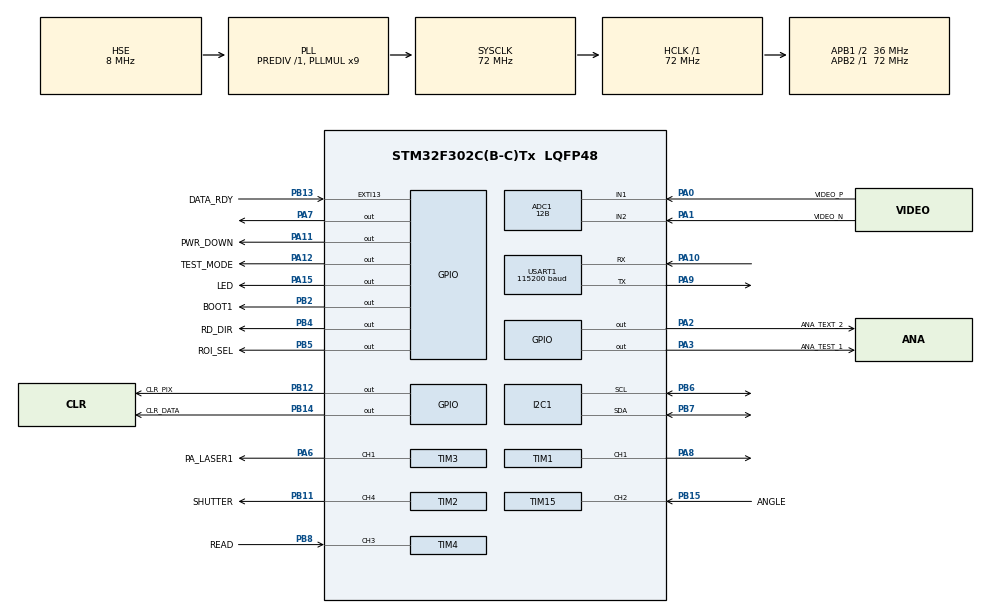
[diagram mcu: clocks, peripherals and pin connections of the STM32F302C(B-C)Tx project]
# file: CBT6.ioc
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ADC1.Channel-0\#ChannelRegularConversion=ADC_CHANNEL_1
ADC1.ClockPrescaler=ADC_CLOCK_SYNC_PCLK_DIV1
ADC1.ContinuousConvMode=ENABLE
ADC1.DMAAccessModeView=ENABLE
ADC1.DMAContinuousRequests=DISABLE
ADC1.DataAlign=ADC_DATAALIGN_RIGHT
ADC1.DiscontinuousConvMode=DISABLE
ADC1.EOCSelection=ADC_EOC_SINGLE_CONV
ADC1.EnableAnalogWatchDog1=false
ADC1.EnableAnalogWatchDog2=false
ADC1.EnableAnalogWatchDog3=false
ADC1.EnableInjectedConversion=DISABLE
ADC1.EnableRegularConversion=ENABLE
ADC1.ExternalTrigConv=ADC_EXTERNALTRIGCONV_T1_CC1
ADC1.ExternalTrigConvEdge=ADC_EXTERNALTRIGCONVEDGE_RISING
ADC1.LowPowerAutoWait=DISABLE
ADC1.NbrOfConversion=1
ADC1.NbrOfConversionFlag=1
ADC1.Offset-0\#ChannelRegularConversion=0
ADC1.OffsetNumber-0\#ChannelRegularConversion=ADC_OFFSET_NONE
ADC1.Overrun=ADC_OVR_DATA_OVERWRITTEN
ADC1.Rank-0\#ChannelRegularConversion=1
ADC1.Resolution=ADC_RESOLUTION_12B
ADC1.SamplingTime-0\#ChannelRegularConversion=ADC_SAMPLETIME_1CYCLE_5
ADC1.ScanConvMode=ADC_SCAN_DISABLE
ADC1.SingleDiff-0\#ChannelRegularConversion=ADC_DIFFERENTIAL_ENDED
ADC1.TwoSamplingDelay=ADC_TWOSAMPLINGDELAY_8CYCLES
ADC1.master=1
Dma.ADC1.2.Direction=DMA_PERIPH_TO_MEMORY
Dma.ADC1.2.Instance=DMA1_Channel1
Dma.ADC1.2.MemDataAlignment=DMA_MDATAALIGN_HALFWORD
Dma.ADC1.2.MemInc=DMA_MINC_ENABLE
Dma.ADC1.2.Mode=DMA_NORMAL
Dma.ADC1.2.PeriphDataAlignment=DMA_PDATAALIGN_HALFWORD
Dma.ADC1.2.PeriphInc=DMA_PINC_DISABLE
Dma.ADC1.2.Priority=DMA_PRIORITY_VERY_HIGH
Dma.Request0=USART1_RX
Dma.Request1=USART1_TX
Dma.Request2=ADC1
Dma.USART1_RX.0.Direction=DMA_PERIPH_TO_MEMORY
Dma.USART1_RX.0.Instance=DMA1_Channel5
Dma.USART1_RX.0.MemDataAlignment=DMA_MDATAALIGN_BYTE
Dma.USART1_RX.0.MemInc=DMA_MINC_ENABLE
Dma.USART1_RX.0.Mode=DMA_NORMAL
Dma.USART1_RX.0.PeriphDataAlignment=DMA_PDATAALIGN_BYTE
Dma.USART1_RX.0.PeriphInc=DMA_PINC_DISABLE
Dma.USART1_RX.0.Priority=DMA_PRIORITY_LOW
Dma.USART1_TX.1.Direction=DMA_MEMORY_TO_PERIPH
Dma.USART1_TX.1.Instance=DMA1_Channel4
Dma.USART1_TX.1.MemDataAlignment=DMA_MDATAALIGN_BYTE
Dma.USART1_TX.1.MemInc=DMA_MINC_ENABLE
Dma.USART1_TX.1.Mode=DMA_NORMAL
Dma.USART1_TX.1.PeriphDataAlignment=DMA_PDATAALIGN_BYTE
Dma.USART1_TX.1.PeriphInc=DMA_PINC_DISABLE
Dma.USART1_TX.1.Priority=DMA_PRIORITY_LOW
Mcu.Family=STM32F3
Mcu.Name=STM32F302C(B-C)Tx
Mcu.Package=LQFP48
NVIC.DMA1_Channel1_IRQn=true\:0\:0\:false\:false\:true
NVIC.DMA1_Channel4_IRQn=true\:0\:0\:false\:false\:true
NVIC.DMA1_Channel5_IRQn=true\:0\:0\:false\:false\:true
NVIC.EXTI15_10_IRQn=true\:0\:0\:false\:false\:true
NVIC.PriorityGroup=NVIC_PRIORITYGROUP_4
NVIC.TIM1_BRK_TIM15_IRQn=true\:3\:0\:true\:false\:true
NVIC.TIM1_UP_TIM16_IRQn=true\:0\:0\:false\:false\:true
NVIC.TIM2_IRQn=true\:2\:0\:true\:false\:true
NVIC.TIM4_IRQn=true\:0\:0\:false\:false\:true
NVIC.USART1_IRQn=true\:1\:0\:true\:false\:true
PA0.GPIO_Label=VIDEO_P
PA0.GPIO_Mode=GPIO_MODE_ANALOG
PA0.GPIO_PuPd=GPIO_NOPULL
PA0.Mode=IN1-Differential
PA0.Signal=ADC1_IN1
PA1.GPIO_Label=VIDEO_N
PA1.GPIO_Mode=GPIO_MODE_ANALOG
PA1.GPIO_PuPd=GPIO_NOPULL
PA1.Mode=IN1-Differential
PA1.Signal=ADC1_IN2
PA10.Mode=Asynchronous
PA10.Signal=USART1_RX
PA11.GPIO_Label=PWR_DOWN
PA11.GPIO_ModeDefaultOutputPP=GPIO_MODE_OUTPUT_PP
PA11.GPIO_PuPd=GPIO_NOPULL
PA11.GPIO_Speed=GPIO_SPEED_FREQ_LOW
PA11.PinState=GPIO_PIN_RESET
PA11.Signal=GPIO_Output
PA12.GPIO_Label=TEST_MODE
PA12.GPIO_ModeDefaultOutputPP=GPIO_MODE_OUTPUT_PP
PA12.GPIO_PuPd=GPIO_NOPULL
PA12.GPIO_Speed=GPIO_SPEED_FREQ_LOW
PA12.PinState=GPIO_PIN_RESET
PA12.Signal=GPIO_Output
PA13.Mode=Serial_Wire
PA13.Signal=SYS_JTMS-SWDIO
PA14.Mode=Serial_Wire
PA14.Signal=SYS_JTCK-SWCLK
PA15.GPIO_Label=LED
PA15.GPIO_ModeDefaultOutputPP=GPIO_MODE_OUTPUT_PP
PA15.GPIO_PuPd=GPIO_NOPULL
PA15.GPIO_Speed=GPIO_SPEED_FREQ_LOW
PA15.PinState=GPIO_PIN_RESET
PA15.Signal=GPIO_Output
PA2.GPIO_Label=ANA_TEXT_2
PA2.Signal=GPIO_Output
PA3.GPIO_Label=ANA_TEST_1
PA3.Signal=GPIO_Output
PA6.GPIO_Label=PA_LASER1
PA6.GPIO_ModeDefaultPP=GPIO_MODE_AF_PP
PA6.GPIO_PuPd=GPIO_NOPULL
PA6.GPIO_Speed=GPIO_SPEED_FREQ_LOW
PA6.Signal=S_TIM3_CH1
PA7.Signal=GPIO_Output
PA8.Signal=S_TIM1_CH1
PA9.Mode=Asynchronous
PA9.Signal=USART1_TX
PB11.GPIO_Label=SHUTTER
PB11.GPIO_ModeDefaultPP=GPIO_MODE_AF_PP
PB11.GPIO_PuPd=GPIO_NOPULL
PB11.GPIO_Speed=GPIO_SPEED_FREQ_LOW
PB11.Signal=S_TIM2_CH4
PB12.GPIO_Label=CLR_PIX
PB12.GPIO_ModeDefaultOutputPP=GPIO_MODE_OUTPUT_PP
PB12.GPIO_PuPd=GPIO_NOPULL
PB12.GPIO_Speed=GPIO_SPEED_FREQ_LOW
PB12.PinState=GPIO_PIN_RESET
PB12.Signal=GPIO_Output
PB13.GPIO_Label=DATA_RDY
PB13.GPIO_ModeDefaultEXTI=GPIO_MODE_IT_RISING
PB13.GPIO_PuPd=GPIO_NOPULL
PB13.Signal=GPXTI13
PB14.GPIO_Label=CLR_DATA
PB14.GPIO_ModeDefaultOutputPP=GPIO_MODE_OUTPUT_PP
PB14.GPIO_PuPd=GPIO_NOPULL
PB14.GPIO_Speed=GPIO_SPEED_FREQ_LOW
PB14.PinState=GPIO_PIN_RESET
PB14.Signal=GPIO_Output
PB15.GPIO_Label=ANGLE
PB15.GPIO_ModeDefaultPP=GPIO_MODE_AF_PP
PB15.GPIO_PuPd=GPIO_NOPULL
PB15.GPIO_Speed=GPIO_SPEED_FREQ_LOW
PB15.Signal=S_TIM15_CH2
PB2.GPIO_Label=BOOT1
PB2.GPIO_ModeDefaultOutputPP=GPIO_MODE_OUTPUT_PP
PB2.GPIO_PuPd=GPIO_NOPULL
PB2.GPIO_Speed=GPIO_SPEED_FREQ_LOW
PB2.PinState=GPIO_PIN_RESET
PB2.Signal=GPIO_Output
PB4.GPIO_Label=RD_DIR
PB4.GPIO_ModeDefaultOutputPP=GPIO_MODE_OUTPUT_PP
PB4.GPIO_PuPd=GPIO_NOPULL
PB4.GPIO_Speed=GPIO_SPEED_FREQ_LOW
PB4.PinState=GPIO_PIN_RESET
PB4.Signal=GPIO_Output
PB5.GPIO_Label=ROI_SEL
PB5.GPIO_ModeDefaultOutputPP=GPIO_MODE_OUTPUT_PP
PB5.GPIO_PuPd=GPIO_NOPULL
PB5.GPIO_Speed=GPIO_SPEED_FREQ_LOW
PB5.PinState=GPIO_PIN_RESET
PB5.Signal=GPIO_Output
PB6.Mode=I2C
PB6.Signal=I2C1_SCL
PB7.Mode=I2C
PB7.Signal=I2C1_SDA
PB8.GPIO_FM8=__NULL
PB8.GPIO_Label=READ
PB8.GPIO_ModeDefaultPP=GPIO_MODE_AF_PP
PB8.GPIO_PuPd=GPIO_NOPULL
PB8.GPIO_Speed=GPIO_SPEED_FREQ_LOW
PB8.Signal=S_TIM4_CH3
PF0-OSC_IN.Mode=HSE-External-Oscillator
PF0-OSC_IN.Signal=RCC_OSC_IN
PF1-OSC_OUT.Mode=HSE-External-Oscillator
PF1-OSC_OUT.Signal=RCC_OSC_OUT
ProjectManager.HeapSize=0x200
ProjectManager.StackSize=0x400
ProjectManager.TargetToolchain=MDK-ARM V5
RCC.AHBFreq_Value=72000000
RCC.APB1CLKDivider=RCC_HCLK_DIV2
RCC.APB1Freq_Value=36000000
RCC.APB1TimFreq_Value=72000000
RCC.APB2Freq_Value=72000000
RCC.APB2TimFreq_Value=72000000
RCC.CortexFreq_Value=72000000
RCC.HCLKFreq_Value=72000000
RCC.HSE_VALUE=8000000
RCC.HSI_VALUE=8000000
RCC.LSE_VALUE=32768
RCC.PLLMUL=RCC_PLL_MUL9
RCC.PLLSourceVirtual=RCC_PLLSOURCE_HSE
RCC.SYSCLKFreq_VALUE=72000000
RCC.SYSCLKSourceVirtual=RCC_SYSCLKSOURCE_PLLCLK
RCC.USBFreq_Value=72000000
SH.S_TIM15_CH2.0=TIM15_CH2,Input_Capture2_from_TI2
SH.S_TIM1_CH1.0=TIM1_CH1,Output Compare1 CH1
SH.S_TIM2_CH4.0=TIM2_CH4,PWM Generation4 CH4
SH.S_TIM3_CH1.0=TIM3_CH1,PWM Generation1 CH1
SH.S_TIM4_CH3.0=TIM4_CH3,Input_Capture3_from_TI3
TIM1.OCMode_1=TIM_OCMODE_RETRIGERRABLE_OPM1
TIM1.Period=14
TIM1.Pulse-Output\ Compare1\ CH1=8
TIM15.Channel-Input_Capture2_from_TI2=TIM_CHANNEL_2
TIM15.Period=65535
TIM15.Prescaler=71
TIM16.Period=3
TIM16.Prescaler=72
TIM2.Channel-PWM\ Generation4\ CH4=TIM_CHANNEL_4
TIM2.Period=50
TIM2.Prescaler=720
TIM2.Pulse-PWM\ Generation4\ CH4=20
TIM3.Period=60
TIM3.Prescaler=72-1
TIM3.Pulse-PWM\ Generation1\ CH1=60-1
TIM4.Channel-Input_Capture3_from_TI3=TIM_CHANNEL_3
TIM4.Period=1028
TIM6.Period=65535
TIM6.Prescaler=7200
USART1.BaudRate=115200
VP_TIM15_VS_ClockSourceINT.Mode=Internal
VP_TIM16_VS_ClockSourceINT.Mode=Enable_Timer
VP_TIM1_VS_ClockSourceINT.Mode=Internal
VP_TIM2_VS_ClockSourceINT.Mode=Internal
VP_TIM3_VS_ClockSourceINT.Mode=Internal
VP_TIM4_VS_ClockSourceINT.Mode=Internal
VP_TIM6_VS_ClockSourceINT.Mode=Enable_Timer
board=CBT6

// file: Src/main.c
/**
  ******************************************************************************
  * File Name          : main.c
  * Description        : Main program body
  ******************************************************************************
  *
  * COPYRIGHT(c) 2017 STMicroelectronics
  *
  * Redistribution and use in source and binary forms, with or without modification,
  * are permitted provided that the following conditions are met:
  *   1. Redistributions of source code must retain the above copyright notice,
  *      this list of conditions and the following disclaimer.
  *   2. Redistributions in binary form must reproduce the above copyright notice,
  *      this list of conditions and the following disclaimer in the documentation
  *      and/or other materials provided with the distribution.
  *   3. Neither the name of STMicroelectronics nor the names of its contributors
  *      may be used to endorse or promote products derived from this software
  *      without specific prior written permission.
  *
  * THIS SOFTWARE IS PROVIDED BY THE COPYRIGHT HOLDERS AND CONTRIBUTORS "AS IS"
  * AND ANY EXPRESS OR IMPLIED WARRANTIES, INCLUDING, BUT NOT LIMITED TO, THE
  * IMPLIED WARRANTIES OF MERCHANTABILITY AND FITNESS FOR A PARTICULAR PURPOSE ARE
  * DISCLAIMED. IN NO EVENT SHALL THE COPYRIGHT HOLDER OR CONTRIBUTORS BE LIABLE
  * FOR ANY DIRECT, INDIRECT, INCIDENTAL, SPECIAL, EXEMPLARY, OR CONSEQUENTIAL
  * DAMAGES (INCLUDING, BUT NOT LIMITED TO, PROCUREMENT OF SUBSTITUTE GOODS OR
  * SERVICES; LOSS OF USE, DATA, OR PROFITS; OR BUSINESS INTERRUPTION) HOWEVER
  * CAUSED AND ON ANY THEORY OF LIABILITY, WHETHER IN CONTRACT, STRICT LIABILITY,
  * OR TORT (INCLUDING NEGLIGENCE OR OTHERWISE) ARISING IN ANY WAY OUT OF THE USE
  * OF THIS SOFTWARE, EVEN IF ADVISED OF THE POSSIBILITY OF SUCH DAMAGE.
  *
  ******************************************************************************
  */
#include "main.h"
#include "stm32f3xx_hal.h"
#include "adc.h"
#include "dma.h"
#include "i2c.h"
#include "tim.h"
#include "usart.h"
#include "gpio.h"

/* USER CODE BEGIN Includes */
#include "usart_user.h"
#include "sysconfig.h"
#include "transmit.h"
#include "angle_and_speed.h"
#include "epc.h"
#include "algorithm.h"
#include "AVG_filter.h"
#include "Median_Filter.h"
#include "kalman_filter.h"

s32 AVGFilterArray[2][5];

AvgFilterInt32Def AVGFilter[3] = {
    {AVGFilterArray[0], 5, 0, 0},
    {AVGFilterArray[1], 5, 0, 0},
};

//初始化卡尔曼滤波器
//kalman1_state kalman1;

/* USER CODE END Includes */

/* USER CODE BEGIN PV */
/* Private variables ---------------------------------------------------------*/

/* USER CODE END PV */

void SystemClock_Config(void);
void Error_Handler(void);

/* USER CODE BEGIN PFP */
/* Private function prototypes -----------------------------------------------*/
uint16_t LastAngle = 0;
static uint16_t Buffer[PIXEL_1_FPS];
/* USER CODE END PFP */

/* USER CODE BEGIN 0 */
/**
  * @brief  将Lidar 2D数据按鿚讯协议打包
  * @param  None
  * @retval None
  */
static void PackageAndSendTxData(void)
{
	u32 out_len = 0;

	PackageDataStruct package;

    //目标速度
    LidarData.GivenSpeed = SystemConfig.GivenSpeed;
    //当前速度
    LidarData.CurrSpeed = GetAngularSpeed();

	package.DataID = PACK_LIDAR_DATA;
	package.DataInBuff = (u8*)&LidarData;
	package.DataInLen = sizeof(LidarDataTypeDef);
	package.DataOutBuff = ComBuffer.TxBuffer;
	package.DataOutLen = &out_len;

    Package(package);

    HAL_UART_Transmit_DMA(&huart1,ComBuffer.TxBuffer,out_len);

}

static void SendMaxPixel(void)
{
	u32 out_len = 0;
    u16 max;
	PackageDataStruct package;

    max = GetPixVmax().PixV;
    CCD_DataBuffer[3] = DEBUG_GET_MAX_PIXEL_VALUE;

	package.DataID = PACK_DEBUG_MODE;
	package.DataInBuff = (u8*)&max;
	package.DataInLen = sizeof(max);
	package.DataOutBuff = ComBuffer.TxBuffer;
	package.DataOutLen = &out_len;

    Package(package);

    HAL_UART_Transmit(&huart1,ComBuffer.TxBuffer,out_len,10);
}

/**
  * @brief  整合Lidar的2D数据
  * @param  angle: Lidar当前的角度
  * @retval None
  */
static void Intergrate2DData(u16 angle)
{
    float distance = 0;
    float pix_index = 0;
    u16 confidence;

    //灰度质心法求得像素质心位置
    Get_Average_Centroid(Buffer, &pix_index);
//    GetCentroid(Buffer, &pix_index);

    //调整像素偏移量(校准得来)
    pix_index += PixOffset;

	//温度补偿
	//pix_index += TemperatureCompensation();

    //估算出距离
    GetDistance(pix_index, &distance);

    //大于最大距离的置零
//    if ((u16)distance > MAX_DISTANCE)
//        distance = 0;

    //将距离数据存入测距数组，同时旋转角度，使零度对齐机器人正前方
    //旋转角度的原因是，光电对管和镜头方向有角度偏差
    angle = (angle + SystemConfig.AngleOffset) % 360;

    confidence = GetPixVmax().PixV;
    LidarData.PointData[angle].Distance = (distance); //(u16)(angle*10);
//    LidarData.PointData[angle].Distance = AVG_Filter_s32(&AVGFilter[0],distance);//增加均值滤波器的distance

    //处理置信度数据(置信度为像素峰值,大于255的部分，按255处理)

    confidence = confidence>>8;
    if (confidence > 255)
        confidence = 255;
	LidarData.PointData[angle].Confidence = (u8)confidence;
//    LidarData.PointData[angle].Confidence = (u8)AVG_Filter_s32(&AVGFilter[1],(u8)confidence);//增加均值滤波器的confidence
}

static void ResetLidarData(void)
{
    u16 i;
    for (i = 0; i < 360; i++)
    {
		LidarData.PointData[i].Confidence=0;
		LidarData.PointData[i].Distance=0;
    }
}
/* USER CODE END 0 */

int main(void)
{

  /* USER CODE BEGIN 1 */
   uint8_t id = 0x00;
    uint16_t current_angle=0;
    int i;
  /* USER CODE END 1 */

  /* MCU Configuration----------------------------------------------------------*/

  /* Reset of all peripherals, Initializes the Flash interface and the Systick. */
  HAL_Init();

  /* Configure the system clock */
  SystemClock_Config();

  /* Initialize all configured peripherals */
  MX_GPIO_Init();
  MX_DMA_Init();
  MX_I2C1_Init();
  MX_USART1_UART_Init();
  MX_TIM15_Init();
  MX_TIM3_Init();
  MX_TIM2_Init();
  MX_ADC1_Init();
  MX_TIM6_Init();
  MX_TIM1_Init();
  MX_TIM16_Init();
  MX_TIM4_Init();

  //初始化卡尔曼滤波器参数
//  kalman1_init(&kalman1,0.2,0.01);
  //
  /* USER CODE BEGIN 2 */
    UART_SetDMA();
    InitSystemConfig();

    //HAL_TIM_Base_Start_IT(&htim2);
   /* Run the ADC calibration in differential mode */
  if (HAL_ADCEx_Calibration_Start(&hadc1, ADC_DIFFERENTIAL_ENDED) != HAL_OK)
  {
    /* Start Conversation Error */
    Error_Handler();
  }

//  /* Start ADC conversion on regular group with interruption */
//  if (HAL_ADC_Start_DMA(&hadc1,CCD_DataBuffer,1) != HAL_OK)
//  {
//    /* Start Conversation Error */
//    Error_Handler();
//  }
    HAL_TIM_PWM_Start(&htim3,TIM_CHANNEL_1);
    InitSpeedCapture();
    HAL_GPIO_WritePin(GPIOA,GPIO_PIN_11,GPIO_PIN_SET);
    HAL_Delay(1);
    HAL_GPIO_WritePin(GPIOA,GPIO_PIN_11,GPIO_PIN_RESET);
    HAL_GPIO_WritePin(GPIOA,GPIO_PIN_12,GPIO_PIN_RESET);
    HAL_GPIO_WritePin(GPIOB,GPIO_PIN_4,GPIO_PIN_RESET);
    HAL_GPIO_WritePin(GPIOB,GPIO_PIN_5,GPIO_PIN_RESET);

    ClearPix();
    ClearData();
    StartCCDCapture();
    PackageAndSendTxData();

//  if(HAL_I2C_Master_Transmit(&hi2c1,0x20,&id,1,1000) != HAL_OK)
//  {
//      printf("i2c t error\n");
//  }
//  HAL_Delay(100);

//
//  if(HAL_I2C_Master_Receive(&hi2c1,0x20,&id,1,10) != HAL_OK)
//  {
//      printf("i2c r error\n");
//  }
//  else
//      printf("id = %d\n",id);
  /* USER CODE END 2 */

  /* Infinite loop */
  /* USER CODE BEGIN WHILE */

//   for(i=0;i<PIXEL_1_FPS;i++)
//    {
//        CCD_DataBuffer_2[i]=i;
//    }
    HAL_GPIO_WritePin(GPIOA,GPIO_PIN_15,GPIO_PIN_SET);
  while (1)
  {
    if(DataReady)
    {
//        Median_Filter_s32(Buffer);
//        AVG_LINE_Filter_s32(Buffer);
        memcpy(Buffer,CCD_DataBuffer,sizeof(CCD_DataBuffer));

        DataReady = 0;
        if(IsZeroPoint() == TRUE)
        {
           PackageAndSendTxData();
            ResetLidarData();
        }
        current_angle = GetLidarAngle() % 360;

        //整合Lidar的2D数据
        //低转速时可能会出现同一个角度多次处理，过滤掉这一操作，提高测距效率
//        if ((current_angle != LastAngle))
        {
            Intergrate2DData(current_angle);
            //记录当前位置
            LastAngle = current_angle;
        }
    }
    if (IsAllPulseWidthDataReady() == TRUE)
    {

        SetPulseWidthThreshold();
    }

  /* USER CODE END WHILE */

  /* USER CODE BEGIN 3 */
    HandleCmd();
  }
  /* USER CODE END 3 */

}

/** System Clock Configuration
*/
void SystemClock_Config(void)
{

  RCC_OscInitTypeDef RCC_OscInitStruct;
  RCC_ClkInitTypeDef RCC_ClkInitStruct;
  RCC_PeriphCLKInitTypeDef PeriphClkInit;

    /**Initializes the CPU, AHB and APB busses clocks
    */
  RCC_OscInitStruct.OscillatorType = RCC_OSCILLATORTYPE_HSE;
  RCC_OscInitStruct.HSEState = RCC_HSE_ON;
  RCC_OscInitStruct.HSEPredivValue = RCC_HSE_PREDIV_DIV1;
  RCC_OscInitStruct.HSIState = RCC_HSI_ON;
  RCC_OscInitStruct.PLL.PLLState = RCC_PLL_ON;
  RCC_OscInitStruct.PLL.PLLSource = RCC_PLLSOURCE_HSE;
  RCC_OscInitStruct.PLL.PLLMUL = RCC_PLL_MUL9;
  if (HAL_RCC_OscConfig(&RCC_OscInitStruct) != HAL_OK)
  {
    Error_Handler();
  }

    /**Initializes the CPU, AHB and APB busses clocks
    */
  RCC_ClkInitStruct.ClockType = RCC_CLOCKTYPE_HCLK|RCC_CLOCKTYPE_SYSCLK
                              |RCC_CLOCKTYPE_PCLK1|RCC_CLOCKTYPE_PCLK2;
  RCC_ClkInitStruct.SYSCLKSource = RCC_SYSCLKSOURCE_PLLCLK;
  RCC_ClkInitStruct.AHBCLKDivider = RCC_SYSCLK_DIV1;
  RCC_ClkInitStruct.APB1CLKDivider = RCC_HCLK_DIV2;
  RCC_ClkInitStruct.APB2CLKDivider = RCC_HCLK_DIV1;

  if (HAL_RCC_ClockConfig(&RCC_ClkInitStruct, FLASH_LATENCY_2) != HAL_OK)
  {
    Error_Handler();
  }

  PeriphClkInit.PeriphClockSelection = RCC_PERIPHCLK_USART1|RCC_PERIPHCLK_I2C1
                              |RCC_PERIPHCLK_TIM1;
  PeriphClkInit.Usart1ClockSelection = RCC_USART1CLKSOURCE_PCLK2;
  PeriphClkInit.I2c1ClockSelection = RCC_I2C1CLKSOURCE_SYSCLK;
  PeriphClkInit.Tim1ClockSelection = RCC_TIM1CLK_HCLK;
  if (HAL_RCCEx_PeriphCLKConfig(&PeriphClkInit) != HAL_OK)
  {
    Error_Handler();
  }

    /**Configure the Systick interrupt time
    */
  HAL_SYSTICK_Config(HAL_RCC_GetHCLKFreq()/1000);

    /**Configure the Systick
    */
  HAL_SYSTICK_CLKSourceConfig(SYSTICK_CLKSOURCE_HCLK);

  /* SysTick_IRQn interrupt configuration */
  HAL_NVIC_SetPriority(SysTick_IRQn, 0, 0);
}

/* USER CODE BEGIN 4 */

int fputc(int ch, FILE *file)
{
  uint8_t pData = (uint8_t)ch;

  HAL_UART_Transmit(&huart1, &pData, 1, 10);
  return ch;
}
/* USER CODE END 4 */

void Error_Handler(void)
{
  while(1)
  {
  }
}

/************************ (C) COPYRIGHT STMicroelectronics *****END OF FILE****/
